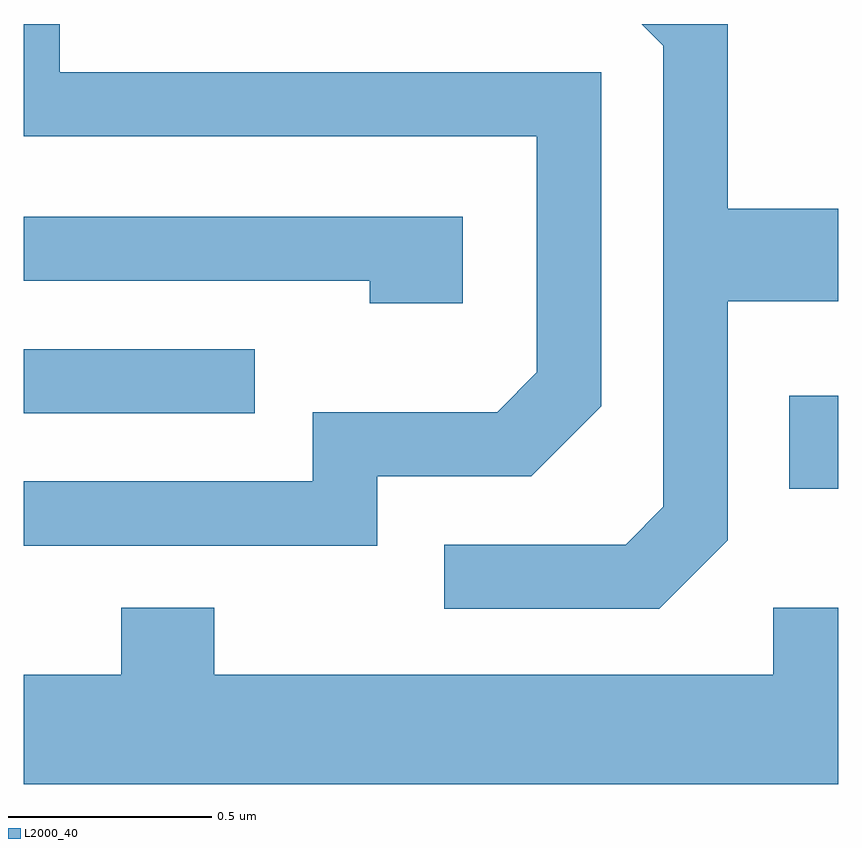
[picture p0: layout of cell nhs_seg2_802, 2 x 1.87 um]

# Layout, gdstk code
import gdstk
lib = gdstk.Library(unit=1e-6, precision=1e-09)
def R(c, l, rs):  # rectangles x0, y0, x1, y1
    for r in rs: c.add(gdstk.rectangle(r[:2], r[2:], *l))
def P(c, l, *ps):  # polygons
    for p in ps: c.add(gdstk.Polygon(p, *l))
L2000_40 = (2000, 40)

nhs_seg2_802 = lib.new_cell('nhs_seg2_802')
R(nhs_seg2_802, L2000_40, [(192.491,1095.661,192.611,1095.889), (190.611,1095.846,191.178,1096.004)])
P(nhs_seg2_802, L2000_40, [(192.339,1095.534),(192.339,1096.121),(192.611,1096.121),(192.611,1096.349),(192.339,1096.349),(192.339,1096.802),(192.128,1096.802),(192.181,1096.749),(192.181,1095.617),(192.089,1095.524),(191.643,1095.524),(191.643,1095.366),(192.172,1095.366)],
  [(191.479,1095.691),(191.857,1095.691),(192.029,1095.864),(192.029,1096.684),(190.699,1096.684),(190.699,1096.802),(190.611,1096.802),(190.611,1096.526),(191.871,1096.526),(191.871,1095.947),(191.774,1095.849),(191.321,1095.849),(191.321,1095.679),(190.611,1095.679),(190.611,1095.521),(191.479,1095.521)],
  [(191.689,1096.329),(190.611,1096.329),(190.611,1096.171),(191.461,1096.171),(191.461,1096.116),(191.689,1096.116)],
  [(192.611,1095.369),(192.451,1095.369),(192.451,1095.204),(191.079,1095.204),(191.079,1095.369),(190.851,1095.369),(190.851,1095.204),(190.611,1095.204),(190.611,1094.936),(192.611,1094.936)])

lib.write_gds('nhs_seg2_802.gds')
